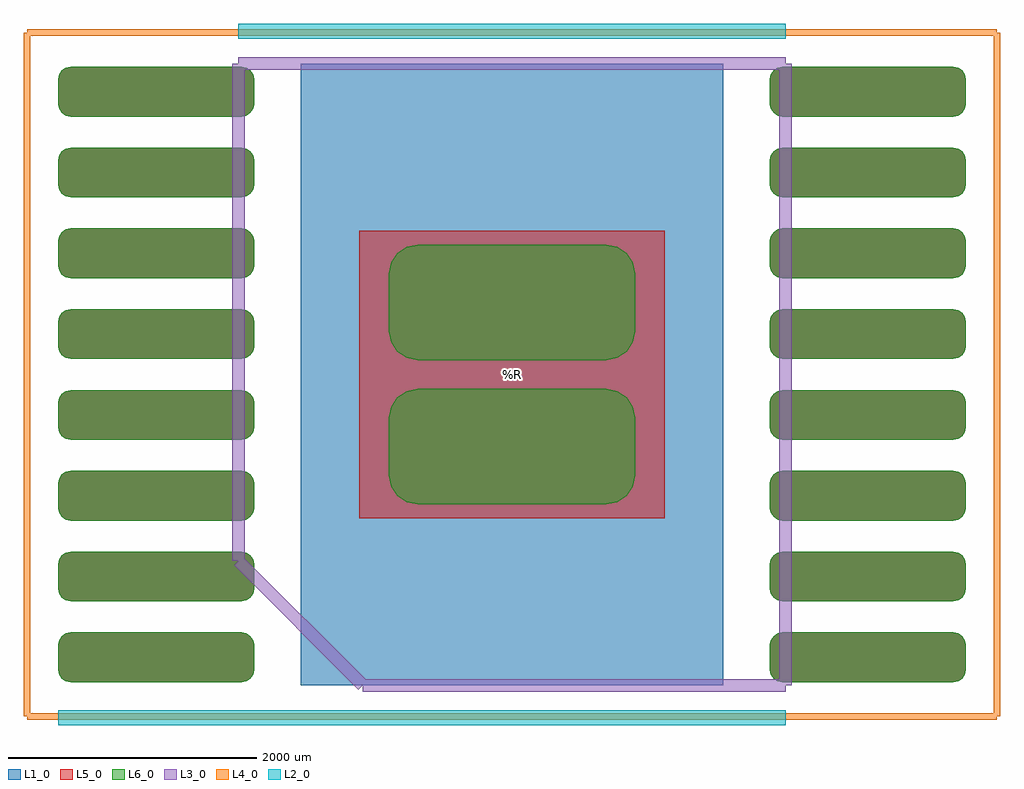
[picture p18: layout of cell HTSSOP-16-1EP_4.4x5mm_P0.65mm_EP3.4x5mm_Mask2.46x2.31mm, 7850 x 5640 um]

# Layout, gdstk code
import gdstk
lib = gdstk.Library(unit=1e-6, precision=1e-09)
def R(c, l, rs):  # rectangles x0, y0, x1, y1
    for r in rs: c.add(gdstk.rectangle(r[:2], r[2:], *l))
def P(c, l, *ps):  # polygons
    for p in ps: c.add(gdstk.Polygon(p, *l))
L1_0 = (1, 0)
L2_0 = (2, 0)
L3_0 = (3, 0)
L4_0 = (4, 0)
L5_0 = (5, 0)
L6_0 = (6, 0)

htssop_16_1ep_4_4x5mm_p0 = lib.new_cell('HTSSOP-16-1EP_4.4x5mm_P0.65mm_EP3.4x5mm_Mask2.46x2.31mm')
R(htssop_16_1ep_4_4x5mm_p0, L1_0, [(-1700,-2500,1700,2500)])
P(htssop_16_1ep_4_4x5mm_p0, L1_0, [(-2175,-2475),(-2137,-2467),(-2104,-2446),(-2083,-2413),(-2075,-2375),(-2075,-2175),(-2083,-2137),(-2104,-2104),(-2137,-2083),(-2175,-2075),(-3550,-2075),(-3588,-2083),(-3621,-2104),(-3642,-2137),(-3650,-2175),(-3650,-2375),(-3642,-2413),(-3621,-2446),(-3588,-2467),(-3550,-2475)],
  [(-2175,-1825),(-2137,-1817),(-2104,-1796),(-2083,-1763),(-2075,-1725),(-2075,-1525),(-2083,-1487),(-2104,-1454),(-2137,-1433),(-2175,-1425),(-3550,-1425),(-3588,-1433),(-3621,-1454),(-3642,-1487),(-3650,-1525),(-3650,-1725),(-3642,-1763),(-3621,-1796),(-3588,-1817),(-3550,-1825)],
  [(-2175,-1175),(-2137,-1167),(-2104,-1146),(-2083,-1113),(-2075,-1075),(-2075,-875),(-2083,-837),(-2104,-804),(-2137,-783),(-2175,-775),(-3550,-775),(-3588,-783),(-3621,-804),(-3642,-837),(-3650,-875),(-3650,-1075),(-3642,-1113),(-3621,-1146),(-3588,-1167),(-3550,-1175)],
  [(-2175,-525),(-2137,-517),(-2104,-496),(-2083,-463),(-2075,-425),(-2075,-225),(-2083,-187),(-2104,-154),(-2137,-133),(-2175,-125),(-3550,-125),(-3588,-133),(-3621,-154),(-3642,-187),(-3650,-225),(-3650,-425),(-3642,-463),(-3621,-496),(-3588,-517),(-3550,-525)],
  [(-2175,125),(-2137,133),(-2104,154),(-2083,187),(-2075,225),(-2075,425),(-2083,463),(-2104,496),(-2137,517),(-2175,525),(-3550,525),(-3588,517),(-3621,496),(-3642,463),(-3650,425),(-3650,225),(-3642,187),(-3621,154),(-3588,133),(-3550,125)],
  [(-2175,775),(-2137,783),(-2104,804),(-2083,837),(-2075,875),(-2075,1075),(-2083,1113),(-2104,1146),(-2137,1167),(-2175,1175),(-3550,1175),(-3588,1167),(-3621,1146),(-3642,1113),(-3650,1075),(-3650,875),(-3642,837),(-3621,804),(-3588,783),(-3550,775)],
  [(-2175,1425),(-2137,1433),(-2104,1454),(-2083,1487),(-2075,1525),(-2075,1725),(-2083,1763),(-2104,1796),(-2137,1817),(-2175,1825),(-3550,1825),(-3588,1817),(-3621,1796),(-3642,1763),(-3650,1725),(-3650,1525),(-3642,1487),(-3621,1454),(-3588,1433),(-3550,1425)],
  [(-2175,2075),(-2137,2083),(-2104,2104),(-2083,2137),(-2075,2175),(-2075,2375),(-2083,2413),(-2104,2446),(-2137,2467),(-2175,2475),(-3550,2475),(-3588,2467),(-3621,2446),(-3642,2413),(-3650,2375),(-3650,2175),(-3642,2137),(-3621,2104),(-3588,2083),(-3550,2075)],
  [(3550,2075),(3588,2083),(3621,2104),(3642,2137),(3650,2175),(3650,2375),(3642,2413),(3621,2446),(3588,2467),(3550,2475),(2175,2475),(2137,2467),(2104,2446),(2083,2413),(2075,2375),(2075,2175),(2083,2137),(2104,2104),(2137,2083),(2175,2075)],
  [(3550,1425),(3588,1433),(3621,1454),(3642,1487),(3650,1525),(3650,1725),(3642,1763),(3621,1796),(3588,1817),(3550,1825),(2175,1825),(2137,1817),(2104,1796),(2083,1763),(2075,1725),(2075,1525),(2083,1487),(2104,1454),(2137,1433),(2175,1425)],
  [(3550,775),(3588,783),(3621,804),(3642,837),(3650,875),(3650,1075),(3642,1113),(3621,1146),(3588,1167),(3550,1175),(2175,1175),(2137,1167),(2104,1146),(2083,1113),(2075,1075),(2075,875),(2083,837),(2104,804),(2137,783),(2175,775)],
  [(3550,125),(3588,133),(3621,154),(3642,187),(3650,225),(3650,425),(3642,463),(3621,496),(3588,517),(3550,525),(2175,525),(2137,517),(2104,496),(2083,463),(2075,425),(2075,225),(2083,187),(2104,154),(2137,133),(2175,125)],
  [(3550,-525),(3588,-517),(3621,-496),(3642,-463),(3650,-425),(3650,-225),(3642,-187),(3621,-154),(3588,-133),(3550,-125),(2175,-125),(2137,-133),(2104,-154),(2083,-187),(2075,-225),(2075,-425),(2083,-463),(2104,-496),(2137,-517),(2175,-525)],
  [(3550,-1175),(3588,-1167),(3621,-1146),(3642,-1113),(3650,-1075),(3650,-875),(3642,-837),(3621,-804),(3588,-783),(3550,-775),(2175,-775),(2137,-783),(2104,-804),(2083,-837),(2075,-875),(2075,-1075),(2083,-1113),(2104,-1146),(2137,-1167),(2175,-1175)],
  [(3550,-1825),(3588,-1817),(3621,-1796),(3642,-1763),(3650,-1725),(3650,-1525),(3642,-1487),(3621,-1454),(3588,-1433),(3550,-1425),(2175,-1425),(2137,-1433),(2104,-1454),(2083,-1487),(2075,-1525),(2075,-1725),(2083,-1763),(2104,-1796),(2137,-1817),(2175,-1825)],
  [(3550,-2475),(3588,-2467),(3621,-2446),(3642,-2413),(3650,-2375),(3650,-2175),(3642,-2137),(3621,-2104),(3588,-2083),(3550,-2075),(2175,-2075),(2137,-2083),(2104,-2104),(2083,-2137),(2075,-2175),(2075,-2375),(2083,-2413),(2104,-2446),(2137,-2467),(2175,-2475)])
R(htssop_16_1ep_4_4x5mm_p0, L5_0, [(-1230,-1155,1230,1155)])
P(htssop_16_1ep_4_4x5mm_p0, L5_0, [(-2175,-2475),(-2137,-2467),(-2104,-2446),(-2083,-2413),(-2075,-2375),(-2075,-2175),(-2083,-2137),(-2104,-2104),(-2137,-2083),(-2175,-2075),(-3550,-2075),(-3588,-2083),(-3621,-2104),(-3642,-2137),(-3650,-2175),(-3650,-2375),(-3642,-2413),(-3621,-2446),(-3588,-2467),(-3550,-2475)],
  [(-2175,-1825),(-2137,-1817),(-2104,-1796),(-2083,-1763),(-2075,-1725),(-2075,-1525),(-2083,-1487),(-2104,-1454),(-2137,-1433),(-2175,-1425),(-3550,-1425),(-3588,-1433),(-3621,-1454),(-3642,-1487),(-3650,-1525),(-3650,-1725),(-3642,-1763),(-3621,-1796),(-3588,-1817),(-3550,-1825)],
  [(-2175,-1175),(-2137,-1167),(-2104,-1146),(-2083,-1113),(-2075,-1075),(-2075,-875),(-2083,-837),(-2104,-804),(-2137,-783),(-2175,-775),(-3550,-775),(-3588,-783),(-3621,-804),(-3642,-837),(-3650,-875),(-3650,-1075),(-3642,-1113),(-3621,-1146),(-3588,-1167),(-3550,-1175)],
  [(-2175,-525),(-2137,-517),(-2104,-496),(-2083,-463),(-2075,-425),(-2075,-225),(-2083,-187),(-2104,-154),(-2137,-133),(-2175,-125),(-3550,-125),(-3588,-133),(-3621,-154),(-3642,-187),(-3650,-225),(-3650,-425),(-3642,-463),(-3621,-496),(-3588,-517),(-3550,-525)],
  [(-2175,125),(-2137,133),(-2104,154),(-2083,187),(-2075,225),(-2075,425),(-2083,463),(-2104,496),(-2137,517),(-2175,525),(-3550,525),(-3588,517),(-3621,496),(-3642,463),(-3650,425),(-3650,225),(-3642,187),(-3621,154),(-3588,133),(-3550,125)],
  [(-2175,775),(-2137,783),(-2104,804),(-2083,837),(-2075,875),(-2075,1075),(-2083,1113),(-2104,1146),(-2137,1167),(-2175,1175),(-3550,1175),(-3588,1167),(-3621,1146),(-3642,1113),(-3650,1075),(-3650,875),(-3642,837),(-3621,804),(-3588,783),(-3550,775)],
  [(-2175,1425),(-2137,1433),(-2104,1454),(-2083,1487),(-2075,1525),(-2075,1725),(-2083,1763),(-2104,1796),(-2137,1817),(-2175,1825),(-3550,1825),(-3588,1817),(-3621,1796),(-3642,1763),(-3650,1725),(-3650,1525),(-3642,1487),(-3621,1454),(-3588,1433),(-3550,1425)],
  [(-2175,2075),(-2137,2083),(-2104,2104),(-2083,2137),(-2075,2175),(-2075,2375),(-2083,2413),(-2104,2446),(-2137,2467),(-2175,2475),(-3550,2475),(-3588,2467),(-3621,2446),(-3642,2413),(-3650,2375),(-3650,2175),(-3642,2137),(-3621,2104),(-3588,2083),(-3550,2075)],
  [(3550,2075),(3588,2083),(3621,2104),(3642,2137),(3650,2175),(3650,2375),(3642,2413),(3621,2446),(3588,2467),(3550,2475),(2175,2475),(2137,2467),(2104,2446),(2083,2413),(2075,2375),(2075,2175),(2083,2137),(2104,2104),(2137,2083),(2175,2075)],
  [(3550,1425),(3588,1433),(3621,1454),(3642,1487),(3650,1525),(3650,1725),(3642,1763),(3621,1796),(3588,1817),(3550,1825),(2175,1825),(2137,1817),(2104,1796),(2083,1763),(2075,1725),(2075,1525),(2083,1487),(2104,1454),(2137,1433),(2175,1425)],
  [(3550,775),(3588,783),(3621,804),(3642,837),(3650,875),(3650,1075),(3642,1113),(3621,1146),(3588,1167),(3550,1175),(2175,1175),(2137,1167),(2104,1146),(2083,1113),(2075,1075),(2075,875),(2083,837),(2104,804),(2137,783),(2175,775)],
  [(3550,125),(3588,133),(3621,154),(3642,187),(3650,225),(3650,425),(3642,463),(3621,496),(3588,517),(3550,525),(2175,525),(2137,517),(2104,496),(2083,463),(2075,425),(2075,225),(2083,187),(2104,154),(2137,133),(2175,125)],
  [(3550,-525),(3588,-517),(3621,-496),(3642,-463),(3650,-425),(3650,-225),(3642,-187),(3621,-154),(3588,-133),(3550,-125),(2175,-125),(2137,-133),(2104,-154),(2083,-187),(2075,-225),(2075,-425),(2083,-463),(2104,-496),(2137,-517),(2175,-525)],
  [(3550,-1175),(3588,-1167),(3621,-1146),(3642,-1113),(3650,-1075),(3650,-875),(3642,-837),(3621,-804),(3588,-783),(3550,-775),(2175,-775),(2137,-783),(2104,-804),(2083,-837),(2075,-875),(2075,-1075),(2083,-1113),(2104,-1146),(2137,-1167),(2175,-1175)],
  [(3550,-1825),(3588,-1817),(3621,-1796),(3642,-1763),(3650,-1725),(3650,-1525),(3642,-1487),(3621,-1454),(3588,-1433),(3550,-1425),(2175,-1425),(2137,-1433),(2104,-1454),(2083,-1487),(2075,-1525),(2075,-1725),(2083,-1763),(2104,-1796),(2137,-1817),(2175,-1825)],
  [(3550,-2475),(3588,-2467),(3621,-2446),(3642,-2413),(3650,-2375),(3650,-2175),(3642,-2137),(3621,-2104),(3588,-2083),(3550,-2075),(2175,-2075),(2137,-2083),(2104,-2104),(2083,-2137),(2075,-2175),(2075,-2375),(2083,-2413),(2104,-2446),(2137,-2467),(2175,-2475)])
P(htssop_16_1ep_4_4x5mm_p0, L6_0, [(-2175,-2475),(-2137,-2467),(-2104,-2446),(-2083,-2413),(-2075,-2375),(-2075,-2175),(-2083,-2137),(-2104,-2104),(-2137,-2083),(-2175,-2075),(-3550,-2075),(-3588,-2083),(-3621,-2104),(-3642,-2137),(-3650,-2175),(-3650,-2375),(-3642,-2413),(-3621,-2446),(-3588,-2467),(-3550,-2475)],
  [(-2175,-1825),(-2137,-1817),(-2104,-1796),(-2083,-1763),(-2075,-1725),(-2075,-1525),(-2083,-1487),(-2104,-1454),(-2137,-1433),(-2175,-1425),(-3550,-1425),(-3588,-1433),(-3621,-1454),(-3642,-1487),(-3650,-1525),(-3650,-1725),(-3642,-1763),(-3621,-1796),(-3588,-1817),(-3550,-1825)],
  [(-2175,-1175),(-2137,-1167),(-2104,-1146),(-2083,-1113),(-2075,-1075),(-2075,-875),(-2083,-837),(-2104,-804),(-2137,-783),(-2175,-775),(-3550,-775),(-3588,-783),(-3621,-804),(-3642,-837),(-3650,-875),(-3650,-1075),(-3642,-1113),(-3621,-1146),(-3588,-1167),(-3550,-1175)],
  [(-2175,-525),(-2137,-517),(-2104,-496),(-2083,-463),(-2075,-425),(-2075,-225),(-2083,-187),(-2104,-154),(-2137,-133),(-2175,-125),(-3550,-125),(-3588,-133),(-3621,-154),(-3642,-187),(-3650,-225),(-3650,-425),(-3642,-463),(-3621,-496),(-3588,-517),(-3550,-525)],
  [(-2175,125),(-2137,133),(-2104,154),(-2083,187),(-2075,225),(-2075,425),(-2083,463),(-2104,496),(-2137,517),(-2175,525),(-3550,525),(-3588,517),(-3621,496),(-3642,463),(-3650,425),(-3650,225),(-3642,187),(-3621,154),(-3588,133),(-3550,125)],
  [(-2175,775),(-2137,783),(-2104,804),(-2083,837),(-2075,875),(-2075,1075),(-2083,1113),(-2104,1146),(-2137,1167),(-2175,1175),(-3550,1175),(-3588,1167),(-3621,1146),(-3642,1113),(-3650,1075),(-3650,875),(-3642,837),(-3621,804),(-3588,783),(-3550,775)],
  [(-2175,1425),(-2137,1433),(-2104,1454),(-2083,1487),(-2075,1525),(-2075,1725),(-2083,1763),(-2104,1796),(-2137,1817),(-2175,1825),(-3550,1825),(-3588,1817),(-3621,1796),(-3642,1763),(-3650,1725),(-3650,1525),(-3642,1487),(-3621,1454),(-3588,1433),(-3550,1425)],
  [(-2175,2075),(-2137,2083),(-2104,2104),(-2083,2137),(-2075,2175),(-2075,2375),(-2083,2413),(-2104,2446),(-2137,2467),(-2175,2475),(-3550,2475),(-3588,2467),(-3621,2446),(-3642,2413),(-3650,2375),(-3650,2175),(-3642,2137),(-3621,2104),(-3588,2083),(-3550,2075)],
  [(3550,2075),(3588,2083),(3621,2104),(3642,2137),(3650,2175),(3650,2375),(3642,2413),(3621,2446),(3588,2467),(3550,2475),(2175,2475),(2137,2467),(2104,2446),(2083,2413),(2075,2375),(2075,2175),(2083,2137),(2104,2104),(2137,2083),(2175,2075)],
  [(3550,1425),(3588,1433),(3621,1454),(3642,1487),(3650,1525),(3650,1725),(3642,1763),(3621,1796),(3588,1817),(3550,1825),(2175,1825),(2137,1817),(2104,1796),(2083,1763),(2075,1725),(2075,1525),(2083,1487),(2104,1454),(2137,1433),(2175,1425)],
  [(3550,775),(3588,783),(3621,804),(3642,837),(3650,875),(3650,1075),(3642,1113),(3621,1146),(3588,1167),(3550,1175),(2175,1175),(2137,1167),(2104,1146),(2083,1113),(2075,1075),(2075,875),(2083,837),(2104,804),(2137,783),(2175,775)],
  [(3550,125),(3588,133),(3621,154),(3642,187),(3650,225),(3650,425),(3642,463),(3621,496),(3588,517),(3550,525),(2175,525),(2137,517),(2104,496),(2083,463),(2075,425),(2075,225),(2083,187),(2104,154),(2137,133),(2175,125)],
  [(3550,-525),(3588,-517),(3621,-496),(3642,-463),(3650,-425),(3650,-225),(3642,-187),(3621,-154),(3588,-133),(3550,-125),(2175,-125),(2137,-133),(2104,-154),(2083,-187),(2075,-225),(2075,-425),(2083,-463),(2104,-496),(2137,-517),(2175,-525)],
  [(3550,-1175),(3588,-1167),(3621,-1146),(3642,-1113),(3650,-1075),(3650,-875),(3642,-837),(3621,-804),(3588,-783),(3550,-775),(2175,-775),(2137,-783),(2104,-804),(2083,-837),(2075,-875),(2075,-1075),(2083,-1113),(2104,-1146),(2137,-1167),(2175,-1175)],
  [(3550,-1825),(3588,-1817),(3621,-1796),(3642,-1763),(3650,-1725),(3650,-1525),(3642,-1487),(3621,-1454),(3588,-1433),(3550,-1425),(2175,-1425),(2137,-1433),(2104,-1454),(2083,-1487),(2075,-1525),(2075,-1725),(2083,-1763),(2104,-1796),(2137,-1817),(2175,-1825)],
  [(3550,-2475),(3588,-2467),(3621,-2446),(3642,-2413),(3650,-2375),(3650,-2175),(3642,-2137),(3621,-2104),(3588,-2083),(3550,-2075),(2175,-2075),(2137,-2083),(2104,-2104),(2083,-2137),(2075,-2175),(2075,-2375),(2083,-2413),(2104,-2446),(2137,-2467),(2175,-2475)],
  [(757,-1045),(846,-1027),(922,-977),(972,-901),(990,-812),(990,-347),(972,-259),(922,-183),(846,-133),(757,-115),(-757,-115),(-846,-133),(-922,-183),(-972,-259),(-990,-347),(-990,-812),(-972,-901),(-922,-977),(-846,-1027),(-757,-1045)],
  [(757,115),(846,133),(922,183),(972,259),(990,347),(990,812),(972,901),(922,977),(846,1027),(757,1045),(-757,1045),(-846,1027),(-922,977),(-972,901),(-990,812),(-990,347),(-972,259),(-922,183),(-846,133),(-757,115)])
htssop_16_1ep_4_4x5mm_p0.add(gdstk.FlexPath([(0,2760),(2200,2760)], 120, ends="flush", simple_path=True, layer=2, datatype=0))  # L2_0
htssop_16_1ep_4_4x5mm_p0.add(gdstk.FlexPath([(0,2760),(-2200,2760)], 120, ends="flush", simple_path=True, layer=2, datatype=0))  # L2_0
htssop_16_1ep_4_4x5mm_p0.add(gdstk.FlexPath([(0,-2760),(2200,-2760)], 120, ends="flush", simple_path=True, layer=2, datatype=0))  # L2_0
htssop_16_1ep_4_4x5mm_p0.add(gdstk.FlexPath([(0,-2760),(-3650,-2760)], 120, ends="flush", simple_path=True, layer=2, datatype=0))  # L2_0
htssop_16_1ep_4_4x5mm_p0.add(gdstk.FlexPath([(-1200,-2500),(2200,-2500)], 100, ends="flush", simple_path=True, layer=3, datatype=0))  # L3_0
htssop_16_1ep_4_4x5mm_p0.add(gdstk.FlexPath([(2200,-2500),(2200,2500)], 100, ends="flush", simple_path=True, layer=3, datatype=0))  # L3_0
htssop_16_1ep_4_4x5mm_p0.add(gdstk.FlexPath([(2200,2500),(-2200,2500)], 100, ends="flush", simple_path=True, layer=3, datatype=0))  # L3_0
htssop_16_1ep_4_4x5mm_p0.add(gdstk.FlexPath([(-2200,2500),(-2200,-1500)], 100, ends="flush", simple_path=True, layer=3, datatype=0))  # L3_0
htssop_16_1ep_4_4x5mm_p0.add(gdstk.FlexPath([(-2200,-1500),(-1200,-2500)], 100, ends="flush", simple_path=True, layer=3, datatype=0))  # L3_0
htssop_16_1ep_4_4x5mm_p0.add(gdstk.FlexPath([(-3900,-2750),(-3900,2750)], 50, ends="flush", simple_path=True, layer=4, datatype=0))  # L4_0
htssop_16_1ep_4_4x5mm_p0.add(gdstk.FlexPath([(-3900,2750),(3900,2750)], 50, ends="flush", simple_path=True, layer=4, datatype=0))  # L4_0
htssop_16_1ep_4_4x5mm_p0.add(gdstk.FlexPath([(3900,2750),(3900,-2750)], 50, ends="flush", simple_path=True, layer=4, datatype=0))  # L4_0
htssop_16_1ep_4_4x5mm_p0.add(gdstk.FlexPath([(3900,-2750),(-3900,-2750)], 50, ends="flush", simple_path=True, layer=4, datatype=0))  # L4_0
htssop_16_1ep_4_4x5mm_p0.add(gdstk.Label('REF**', (0,-3450), layer=2, texttype=0))
htssop_16_1ep_4_4x5mm_p0.add(gdstk.Label('HTSSOP-16-1EP_4.4x5mm_P0.65mm_EP3.4x5mm_Mask2.46x2.31mm', (0,3450), layer=3, texttype=0))
htssop_16_1ep_4_4x5mm_p0.add(gdstk.Label('%R', (0,0), layer=3, texttype=0))

lib.write_gds('HTSSOP-16-1EP_4.4x5mm_P0.65mm_EP3.4x5mm_Mask2.46x2.31mm.gds')
